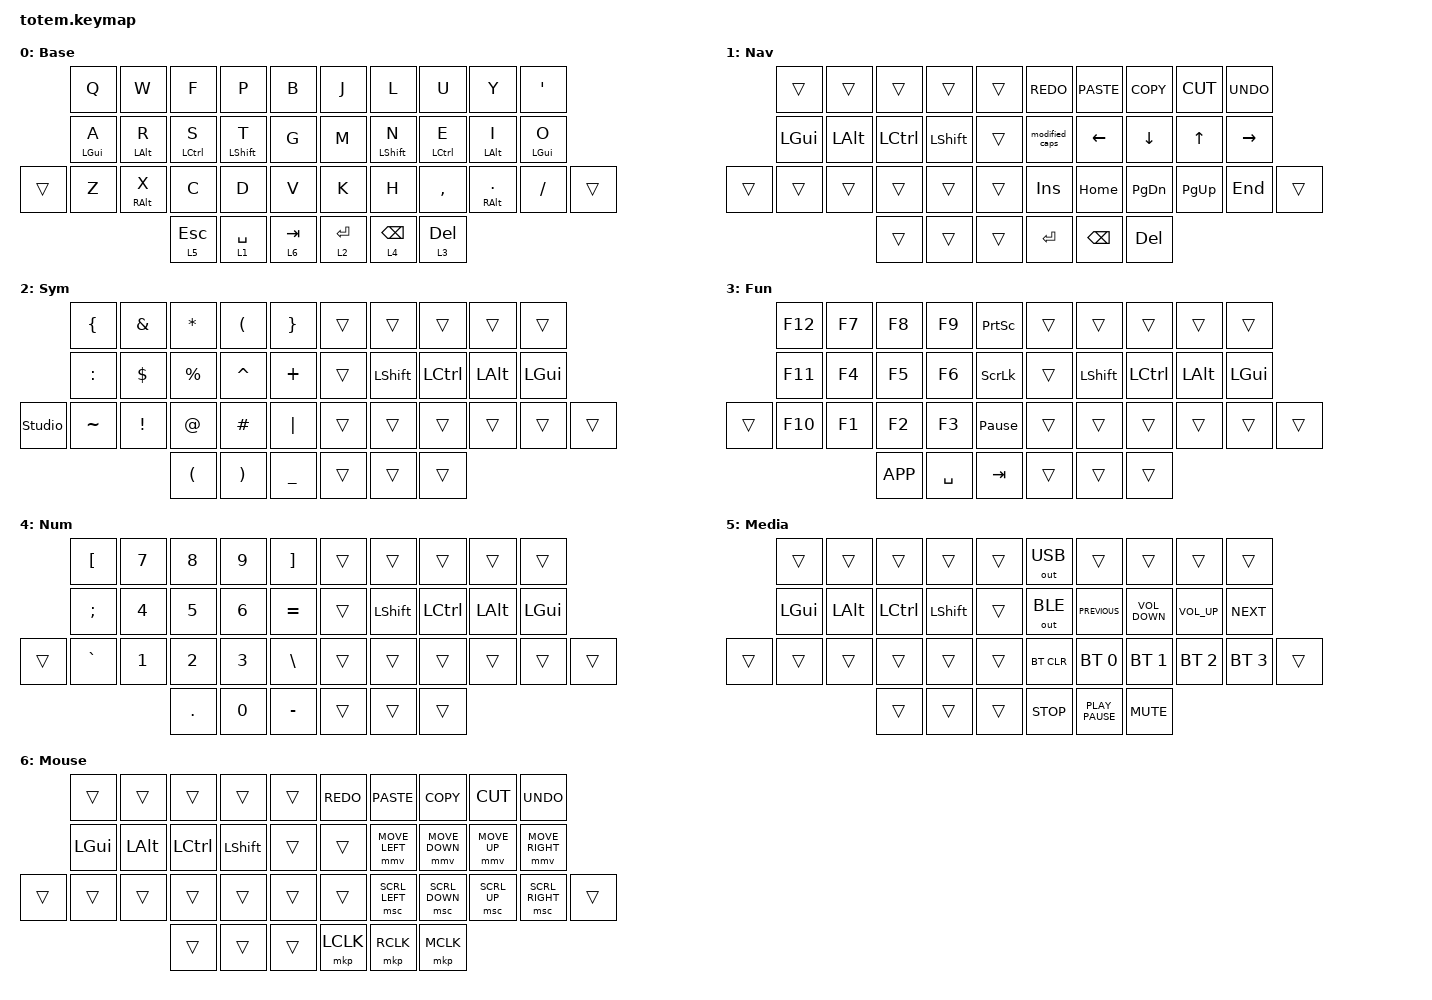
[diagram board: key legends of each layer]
//
//                                                        ▀▀▀▀▀     ▀▀▀▀▀          ▀▀█▀▀
//                                                        ▄▀▀▀▄  ▄  ▄▀▀▀▄  ▄  ▄▀▀▀▄  █  ▄▀▀▀▄
//                                                        █   █  █  █   █  █  █   █  █  █   █
//                                                         ▀▀▀   █   ▀▀▀   █   ▀▀▀   ▀   ▀▀▀
//                                                               █      ▄▄▄█▄▄▄    █   █  
//                                                               ▀      █  █  █     █▄█
//                                                             ▀▀▀▀▀    █  █  █      ▀
//                                                                      ▀  ▀  ▀
//
// ▄▄▄▄▄▄▄▄▄▄▄▄▄▄▄▄▄▄▄▄▄▄▄▄▄▄▄▄▄▄▄▄▄▄▄▄▄▄▄▄▄▄▄▄▄▄▄▄▄▄▄▄▄▄▄▄▄▄▄▄▄▄▄▄▄▄▄▄▄▄▄▄▄▄▄▄▄▄▄▄▄▄▄▄▄▄▄▄▄▄▄▄▄▄▄▄▄▄▄▄▄▄▄▄▄▄▄▄▄▄▄▄▄▄▄▄▄▄▄▄▄▄▄▄▄▄▄▄▄▄▄▄▄▄▄▄▄▄▄▄▄▄▄▄▄▄▄▄▄

#include <behaviors.dtsi>
#include <dt-bindings/zmk/bt.h>
#include <dt-bindings/zmk/keys.h>
#include <dt-bindings/zmk/outputs.h>
#include <dt-bindings/zmk/pointing.h>

#define Base        0
#define Nav         1
#define Sym         2
#define Fun         3
#define Game        4
#define Gameplus    5

&mt {
    quick-tap-ms = <100>;
    global-quick-tap;
    flavor = "tap-preferred";
    tapping-term-ms = <170>;
};

&lt {
    tapping-term-ms = <240>;
    flavor = "balanced";
    quick-tap-ms = <150>;
};

/ {
    behaviors {
        hm: homerow_mods {
            compatible = "zmk,behavior-hold-tap";
            label = "HOMEROW_MODS";
            #binding-cells = <2>;
            flavor = "tap-preferred";
            tapping-term-ms = <200>;
            quick-tap-ms = <125>;
            global-quick-tap;
            bindings = <&kp>, <&kp>;
        };

        modified_caps: modified_caps {
            compatible = "zmk,behavior-mod-morph";
            label = "MODIFIED_CAPS";
            bindings = <&caps_word>, <&kp CAPSLOCK>;

            #binding-cells = <0>;
            mods = <(MOD_LSFT)>;
        };
    };

    combos { compatible = "zmk,combos"; };

    keymap {
        compatible = "zmk,keymap";

        Base {
            display-name = "Base";
            bindings = <
        &kp Q       &kp W            &kp F        &kp P         &kp B        &kp J        &kp L         &kp U        &kp Y              &kp SQT
        &hm LGUI A  &hm LALT R       &hm LCTRL S  &hm LSHIFT T  &kp G        &kp M        &hm LSHIFT N  &hm LCTRL E  &hm LALT I         &hm LGUI O
&trans  &kp Z       &hm RIGHT_ALT X  &kp C        &kp D         &kp V        &kp K        &kp H         &kp COMMA    &hm RIGHT_ALT DOT  &kp SLASH   &trans
                                     &lt 5 ESC    &lt 1 SPACE   &lt 6 TAB    &lt 2 ENTER  &lt 4 BSPC    &lt 3 DEL
            >;
        };

        Nav {
            display-name = "Nav";
            bindings = <
        &trans    &trans    &trans     &trans     &trans    &kp K_REDO      &kp K_PASTE     &kp K_COPY      &kp K_CUT     &kp K_UNDO
        &kp LGUI  &kp LALT  &kp LCTRL  &kp LSHFT  &trans    &modified_caps  &kp LEFT_ARROW  &kp DOWN_ARROW  &kp UP_ARROW  &kp RIGHT_ARROW
&trans  &trans    &trans    &trans     &trans     &trans    &kp INSERT      &kp HOME        &kp PAGE_DOWN   &kp PAGE_UP   &kp END          &trans
                            &trans     &trans     &trans    &kp ENTER       &kp BACKSPACE   &kp DELETE
            >;
        };

        Sym {
            display-name = "Sym";
            bindings = <
                &kp LEFT_BRACE  &kp AMPERSAND    &kp ASTERISK          &kp LEFT_PARENTHESIS   &kp RIGHT_BRACE    &trans  &trans      &trans     &trans    &trans
                &kp COLON       &kp DOLLAR       &kp PERCENT           &kp CARET              &kp PLUS           &trans  &kp LSHIFT  &kp LCTRL  &kp LALT  &kp LGUI
&studio_unlock  &kp TILDE       &kp EXCLAMATION  &kp AT_SIGN           &kp HASH               &kp PIPE           &trans  &trans      &trans     &trans    &trans    &trans
                                                 &kp LEFT_PARENTHESIS  &kp RIGHT_PARENTHESIS  &kp UNDERSCORE     &trans  &trans      &trans
            >;
        };

        Fun {
            display-name = "Fun";
            bindings = <
        &kp F12  &kp F7  &kp F8     &kp F9     &kp PRINTSCREEN    &trans  &trans      &trans     &trans    &trans
        &kp F11  &kp F4  &kp F5     &kp F6     &kp SCROLLLOCK     &trans  &kp LSHIFT  &kp LCTRL  &kp LALT  &kp LGUI
&trans  &kp F10  &kp F1  &kp F2     &kp F3     &kp PAUSE_BREAK    &trans  &trans      &trans     &trans    &trans    &trans
                         &kp K_APP  &kp SPACE  &kp TAB            &trans  &trans      &trans
            >;
        };

        Num {
            bindings = <
        &kp LEFT_BRACKET  &kp N7  &kp N8      &kp N9  &kp RIGHT_BRACKET    &trans  &trans      &trans     &trans    &trans
        &kp SEMICOLON     &kp N4  &kp N5      &kp N6  &kp EQUAL            &trans  &kp LSHIFT  &kp LCTRL  &kp LALT  &kp LGUI
&trans  &kp GRAVE         &kp N1  &kp N2      &kp N3  &kp BACKSLASH        &trans  &trans      &trans     &trans    &trans    &trans
                                  &kp PERIOD  &kp N0  &kp MINUS            &trans  &trans      &trans
            >;
        };

        Media {
            bindings = <
        &trans    &trans    &trans     &trans      &trans    &out OUT_USB  &trans            &trans             &trans           &trans
        &kp LGUI  &kp LALT  &kp LCTRL  &kp LSHIFT  &trans    &out OUT_BLE  &kp K_PREVIOUS    &kp K_VOLUME_DOWN  &kp K_VOLUME_UP  &kp K_NEXT
&trans  &trans    &trans    &trans     &trans      &trans    &bt BT_CLR    &bt BT_SEL 0      &bt BT_SEL 1       &bt BT_SEL 2     &bt BT_SEL 3  &trans
                            &trans     &trans      &trans    &kp K_STOP    &kp K_PLAY_PAUSE  &kp K_MUTE
            >;
        };

        Mouse {
            bindings = <
        &trans    &trans    &trans     &trans      &trans    &kp K_REDO  &kp K_PASTE     &kp K_COPY      &kp K_CUT     &kp K_UNDO
        &kp LGUI  &kp LALT  &kp LCTRL  &kp LSHIFT  &trans    &trans      &mmv MOVE_LEFT  &mmv MOVE_DOWN  &mmv MOVE_UP  &mmv MOVE_RIGHT
&trans  &trans    &trans    &trans     &trans      &trans    &trans      &msc SCRL_LEFT  &msc SCRL_DOWN  &msc SCRL_UP  &msc SCRL_RIGHT  &trans
                            &trans     &trans      &trans    &mkp LCLK   &mkp RCLK       &mkp MCLK
            >;
        };
    };
};
